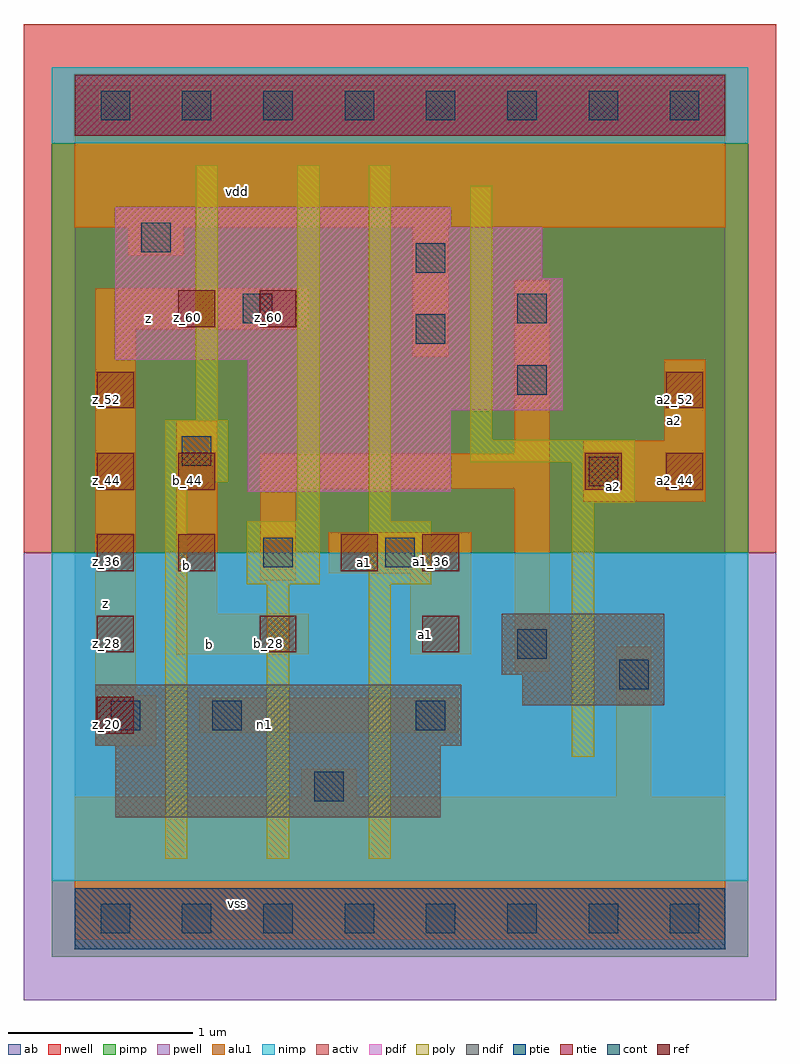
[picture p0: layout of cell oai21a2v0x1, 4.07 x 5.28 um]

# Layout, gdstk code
import gdstk
lib = gdstk.Library(unit=1e-6, precision=2.5e-09)
def R(c, l, rs):  # rectangles x0, y0, x1, y1
    for r in rs: c.add(gdstk.rectangle(r[:2], r[2:], *l))
def A(c, l, x, y, w, h, nx, ny, dx, dy):  # array of equal rectangles
    R(c, l, [(x+i*dx, y+j*dy, x+i*dx+w, y+j*dy+h) for i in range(nx) for j in range(ny)])
ndif = (3, 0)
pdif = (4, 0)
ntie = (5, 0)
ptie = (6, 0)
ref = (24, 0)
cont = (25, 0)
pwell = (41, 0)
nwell = (42, 0)
activ = (43, 0)
pimp = (44, 0)
nimp = (45, 0)
poly = (46, 0)
alu1 = (49, 0)
ab = (63, 0)

oai21a2v0x1 = lib.new_cell('oai21a2v0x1')
R(oai21a2v0x1, ndif, [(0.22,0.55,1.98,0.935), (0.11,0.935,2.09,1.265), (2.42,1.155,3.19,1.32), (2.31,1.32,3.19,1.65)])
R(oai21a2v0x1, pdif, [(0.935,2.31,2.035,2.75), (0.935,2.75,2.64,3.025), (0.22,3.025,2.64,3.465), (0.22,3.465,2.53,3.74), (0.22,3.74,2.035,3.85)])
R(oai21a2v0x1, ntie, [(0,4.235,3.52,4.565)])
R(oai21a2v0x1, ptie, [(0,-0.165,3.52,0.165)])
A(oai21a2v0x1, ref, 0.12, 1.44, 0.2, 0.2, 3, 1, 0.88, 0)
A(oai21a2v0x1, ref, 0.12, 1.88, 0.2, 0.2, 1, 3, 0, 0.44)
R(oai21a2v0x1, ref, [(0.12,1,0.32,1.2), (0.56,1.88,0.76,2.08), (1.44,1.88,1.64,2.08), (1.88,1.88,2.08,2.08), (0.56,2.32,0.76,2.52), (2.76,2.32,2.96,2.52), (3.2,2.32,3.4,2.52), (3.2,2.76,3.4,2.96), (0.56,3.2,0.76,3.4), (1,3.2,1.2,3.4)])
A(oai21a2v0x1, cont, 0.14, -0.08, 0.16, 0.16, 8, 2, 0.44, 4.4)
R(oai21a2v0x1, cont, [(1.295,0.635,1.455,0.795), (0.195,1.02,0.355,1.18), (0.745,1.02,0.905,1.18), (1.845,1.02,2.005,1.18), (2.945,1.24,3.105,1.4), (2.395,1.405,2.555,1.565), (1.02,1.9,1.18,2.06), (1.68,1.9,1.84,2.06), (2.78,2.34,2.94,2.5), (0.58,2.45,0.74,2.61), (2.395,2.835,2.555,2.995), (1.845,3.11,2.005,3.27), (0.91,3.22,1.07,3.38), (2.395,3.22,2.555,3.38), (1.845,3.495,2.005,3.655), (0.36,3.605,0.52,3.765)])
R(oai21a2v0x1, pwell, [(-0.275,-0.44,3.795,1.98)])
R(oai21a2v0x1, nwell, [(-0.275,1.98,3.795,4.84)])
R(oai21a2v0x1, activ, [(0,-0.165,3.52,0.165), (0.22,0.55,1.98,0.935), (0.11,0.935,2.09,1.265), (2.42,1.155,3.19,1.32), (2.31,1.32,3.19,1.65), (0.935,2.31,2.035,2.75), (0.935,2.75,2.64,3.025), (0.22,3.025,2.64,3.465), (0.22,3.465,2.53,3.74), (0.22,3.74,2.035,3.85), (0,4.235,3.52,4.565)])
R(oai21a2v0x1, pimp, [(-0.125,-0.205,3.645,0.205), (-0.125,1.98,3.645,4.195)])
R(oai21a2v0x1, nimp, [(-0.125,0.205,3.645,1.98), (-0.125,4.195,3.645,4.605)])
R(oai21a2v0x1, poly, [(0.49,0.325,0.61,2.36), (1.04,0.325,1.16,1.81), (1.59,0.325,1.71,1.81), (2.69,0.875,2.81,2.25), (0.93,1.81,1.325,2.15), (1.59,1.81,1.93,2.15), (1.205,2.15,1.325,4.075), (1.59,2.15,1.71,4.075), (2.69,2.25,3.03,2.47), (0.49,2.36,0.83,2.7), (2.14,2.47,3.03,2.59), (2.14,2.59,2.26,3.965), (0.655,2.7,0.775,4.075)])
R(oai21a2v0x1, alu1, [(0,-0.11,3.52,0.66), (1.225,0.66,1.525,0.81), (2.93,0.66,3.12,1.47), (0.11,0.935,0.44,1.21), (0.675,1.005,2.075,1.195), (0.11,1.21,0.33,3.19), (2.38,1.335,2.57,2.325), (0.55,1.43,1.265,1.65), (1.815,1.43,2.145,1.87), (0.55,1.65,0.77,2.695), (1.005,1.83,1.195,2.325), (1.375,1.87,2.145,2.09), (2.75,2.255,3.41,2.585), (1.005,2.325,2.57,2.515), (2.38,2.515,2.57,3.45), (3.19,2.585,3.41,3.025), (1.83,3.04,2.02,3.74), (0.11,3.19,1.265,3.41), (0.29,3.59,0.59,3.74), (0,3.74,3.52,4.51)])
R(oai21a2v0x1, ab, [(0,0,3.52,4.4)])
oai21a2v0x1.add(gdstk.Label('vss', (0.88,0.0825), layer=49, texttype=0))
oai21a2v0x1.add(gdstk.Label('n1', (1.025,1.0525), layer=49, texttype=0))
oai21a2v0x1.add(gdstk.Label('a2', (2.915,2.3375), layer=49, texttype=0))
oai21a2v0x1.add(gdstk.Label('a1', (1.8975,1.54), layer=49, texttype=0))
oai21a2v0x1.add(gdstk.Label('b', (0.7275,1.485), layer=49, texttype=0))
oai21a2v0x1.add(gdstk.Label('a1', (1.5675,1.925), layer=49, texttype=0))
oai21a2v0x1.add(gdstk.Label('a2', (3.245,2.695), layer=49, texttype=0))
oai21a2v0x1.add(gdstk.Label('b', (0.605,1.91), layer=49, texttype=0))
oai21a2v0x1.add(gdstk.Label('z', (0.165,1.705), layer=49, texttype=0))
oai21a2v0x1.add(gdstk.Label('z', (0.3975,3.245), layer=49, texttype=0))
oai21a2v0x1.add(gdstk.Label('vdd', (0.88,3.9325), layer=49, texttype=0))
oai21a2v0x1.add(gdstk.Label('a1_28', (1.93,1.49), layer=24, texttype=0))
oai21a2v0x1.add(gdstk.Label('a2_52', (3.25,2.81), layer=24, texttype=0))
oai21a2v0x1.add(gdstk.Label('a2_44', (3.25,2.37), layer=24, texttype=0))
oai21a2v0x1.add(gdstk.Label('a1_36', (1.93,1.93), layer=24, texttype=0))
oai21a2v0x1.add(gdstk.Label('a2_44', (2.81,2.37), layer=24, texttype=0))
oai21a2v0x1.add(gdstk.Label('b_36', (0.61,1.93), layer=24, texttype=0))
oai21a2v0x1.add(gdstk.Label('b_44', (0.61,2.37), layer=24, texttype=0))
oai21a2v0x1.add(gdstk.Label('z_60', (0.61,3.25), layer=24, texttype=0))
oai21a2v0x1.add(gdstk.Label('b_28', (1.05,1.49), layer=24, texttype=0))
oai21a2v0x1.add(gdstk.Label('z_60', (1.05,3.25), layer=24, texttype=0))
oai21a2v0x1.add(gdstk.Label('a1_36', (1.49,1.93), layer=24, texttype=0))
oai21a2v0x1.add(gdstk.Label('z_20', (0.17,1.05), layer=24, texttype=0))
oai21a2v0x1.add(gdstk.Label('z_28', (0.17,1.49), layer=24, texttype=0))
oai21a2v0x1.add(gdstk.Label('z_36', (0.17,1.93), layer=24, texttype=0))
oai21a2v0x1.add(gdstk.Label('z_44', (0.17,2.37), layer=24, texttype=0))
oai21a2v0x1.add(gdstk.Label('z_52', (0.17,2.81), layer=24, texttype=0))

lib.write_gds('oai21a2v0x1.gds')
